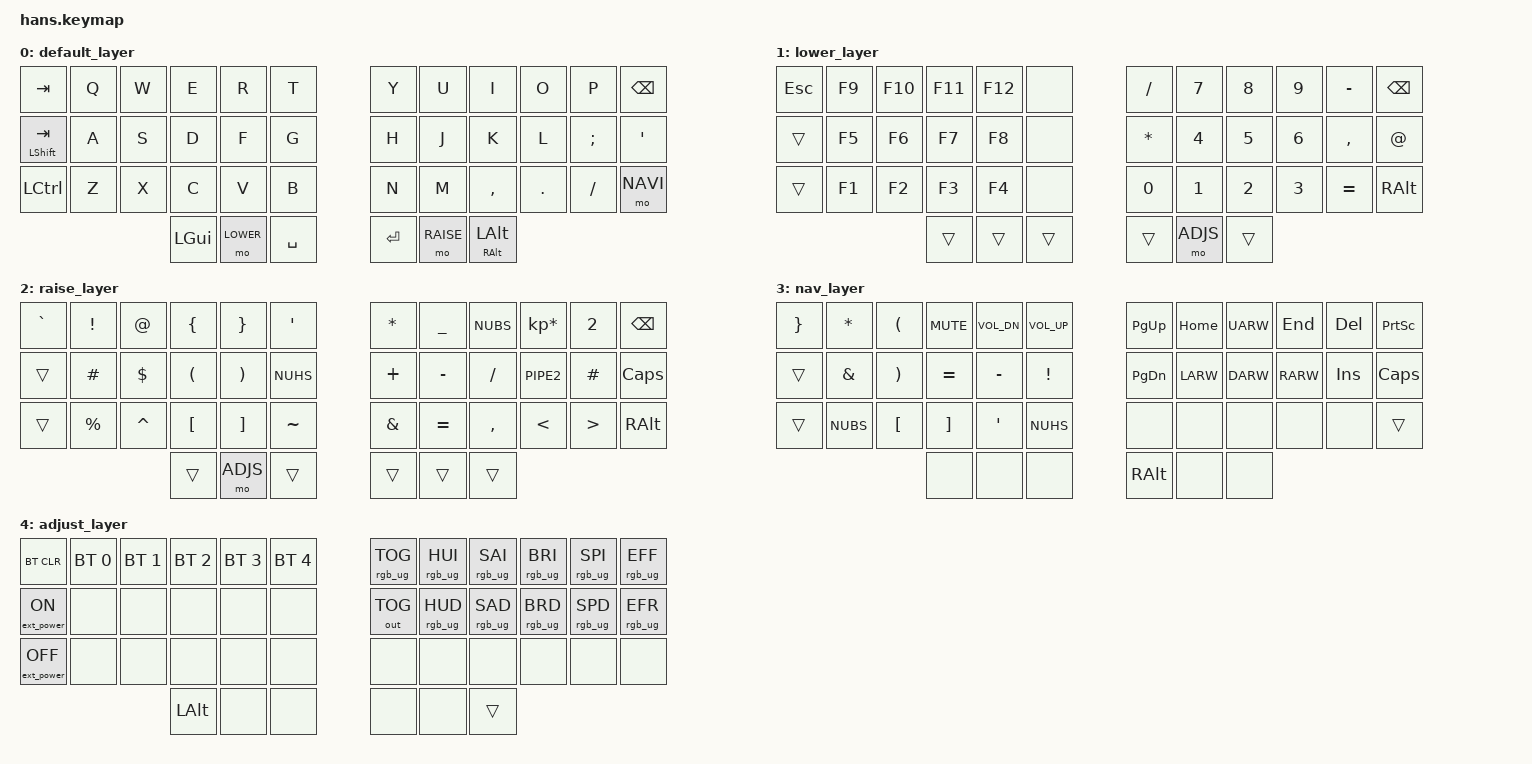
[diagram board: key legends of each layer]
/*
 * Copyright (c) 2020 The ZMK Contributors
 *
 * SPDX-License-Identifier: MIT
 */

#include <behaviors.dtsi>
#include <dt-bindings/zmk/keys.h>
#include <dt-bindings/zmk/bt.h>
#include <dt-bindings/zmk/ext_power.h>
#include <dt-bindings/zmk/outputs.h>
#include <dt-bindings/led/led.h>
#include <dt-bindings/zmk/rgb.h>
#include <dt-bindings/zmk/backlight.h>

//#include <../boards/shields/corne/boards/nice_nano.overlay>

// define blueth
#define BT(n) BT_SEL n

// defines readable layer index
#define DEFAULT 0
#define LOWER   1
#define RAISE   2
#define NAVI    3
#define ADJS    4

/ {     
        keymap {
                compatible = "zmk,keymap";

                default_layer { 
// DEFAULT LAYER
// .--------------------------------------------------------------.       .-----------------------------------------------------------.
// |   ESC        |    Q    |    W   |   E    |    R    |    T    |       |   Y   |    U    |    I    |    O    |     P    |   BKSP   |
// |--------------+---------+--------+--------+---------+---------|       |-------+---------+---------+---------+----------+----------|
// |   SHFT/Tab   |    A    |    S   |   D    |    F    |    G    |       |   H   |    J    |    K    |    L    |    ;Ñ    |    '´    |
// |--------------+---------+--------+--------+---------+---------|       |-------+---------+---------+---------+----------+----------|
// |   CTRL       |    Z    |    X   |   C    |    V    |    B    |       |   N   |    M    |   ,;    |    :.   |    /-_   |   NAV    |
// '---------------------------------+--------+---------+---------+       |-------+---------+---------+-------------------------------'
//                                   |  GUI   |   LWR   |   SPC   |       |  ENT  |   RSE   | LALT/Gr |
//                                   '--------+---------+---------'       '-------+---------+---------'
                  bindings = <
        &kp TAB        &kp Q    &kp W    &kp E    &kp R     &kp T           &kp Y    &kp U      &kp I     &kp O     &kp P     &kp BKSP
        &mt LSHFT TAB  &kp A    &kp S    &kp D    &kp F     &kp G           &kp H    &kp J      &kp K     &kp L     &kp SCLN  &kp QUOT
        &kp LCTL       &kp Z    &kp X    &kp C    &kp V     &kp B           &kp N    &kp M      &kp CMMA  &kp DOT   &kp FSLH  &mo NAVI
                                       &kp LGUI  &mo LOWER  &kp SPC    &kp RET  &mo RAISE  &mt RALT LALT
                            >;
                };


                lower_layer {
// LOWER Layer: Media and Number Pad
// .--------------------------------------------------------------.    .-----------------------------------------------------------.
// |   ESC        |    F9   |   F10  |   F11  |   F12   |         |    |   -   |   7 /   |   8 (   |   9 )   |    '?    |   BKSP   |
// |--------------+---------+--------+--------+---------+---------|    |-------+---------+---------+---------+----------+----------|
// |   SHFT/Tab   |    F5   |   F6   |   F7   |   F8    |         |    |   (   |   4$~   |   5%€   |   6&¬   |   ,;     |    @     |
// |--------------+---------+--------+--------+---------+---------|    |-------+---------+---------+---------+----------+----------|
// |   CTRL       |    F1   |   F2   |   F3   |   F4    |         |    |  0 =  |   1!|   |   2"@   |   3·#   |    ¡¿    |   ALTGR  |
// '---------------------------------+--------+---------+---------+    |-------+---------+---------+-------------------------------'
//                                   |  GUI   |   LWR   |   SPC   |    |  ENT  |   ADJ   |   LALT   |
//                                   '--------+---------+---------'    '-------+---------+---------'

                  bindings = <
          &kp ESC     &kp F9   &kp F10  &kp F11  &kp F12  &none       &kp FSLH   &kp NUM_7  &kp NUM_8  &kp NUM_9  &kp MINUS  &kp BKSP
          &trans      &kp F5   &kp F6   &kp F7   &kp F8   &none       &kp STAR   &kp NUM_4  &kp NUM_5  &kp NUM_6  &kp COMMA  &kp AT_SIGN
          &trans      &kp F1   &kp F2   &kp F3   &kp F4   &none       &kp NUM_0  &kp NUM_1  &kp NUM_2  &kp NUM_3  &kp EQUAL  &kp RALT
                                        &trans   &trans   &trans      &trans     &mo ADJS   &trans
                            >;
                };



                raise_layer {
// RAISE Layer: Special Chars
// .--------------------------------------------------------------.    .-----------------------------------------------------------.
// |     ºª\      |    !    |   "    |   ^    |    *    |  ´¨{    |    |   (   |    ?    |   <>    |    *    |    2@    |   BKSP   |
// |--------------+---------+--------+--------+---------+---------|    |-------+---------+---------+---------+----------+----------|
// |   SHFT/Tab   |    ·    |    $   |   )    |    =    |    Ç}   |    |   ¿   |    '?   |   -_    |    >    |    #·    |   CAPS   |
// |--------------+---------+--------+--------+---------+---------|    |-------+---------+---------+---------+----------+----------|
// |     CTRL     |    %    |    &   |  `[   |    +]    |    ª    |    |   /   |    ¡¿   |   ,;    |    ;    |    :     |  ALTGR   |
// '---------------------------------+--------+---------+---------+    |-------+---------+---------+-------------------------------'
//                                   |        |         |         |    |       |         |         |
//                                   '--------+---------+---------'    '-------+---------+---------'
                        bindings = <
        &kp GRAVE  &kp EXCL   &kp AT    &kp LBRC  &kp RBRC  &kp QUOT     &kp ASTRK  &kp UNDER  &kp NUBS  &kp KP_MULTIPLY  &kp NUM_2  &kp BKSP
        &trans     &kp HASH   &kp DLLR  &kp LPAR  &kp RPAR  &kp NUHS     &kp PLUS   &kp MINUS  &kp FSLH  &kp PIPE2        &kp POUND  &kp CAPS
        &trans     &kp PRCNT  &kp CARET &kp LBKT  &kp RBKT  &kp TILDE    &kp AMPS   &kp EQUAL  &kp COMMA &kp LT           &kp GT     &kp RALT
                                        &trans    &mo ADJS  &trans       &trans     &trans     &trans
                        >;
                };


              nav_layer {
// NAVIGATION Layer: Directions
// .--------------------------------------------------------------.    .-----------------------------------------------------------.
// |      *       |    (    |    )   |  MUTE  |   VOL-  |  VOL+   |    | PG UP | PG HOME |   UP    |  PG END |   DEL    |  PrtScn  |
// |--------------+---------+--------+--------+---------+---------|    |-------+---------+---------+---------+----------+----------|
// |   SHFT/Tab   |    /    |    =   |   ¿¡   |    ?'   |    !    |    | PF DN |  LEFT   |  DOWN   |  RIGHT  |   INS    | CAPS LCK |
// |--------------+---------+--------+--------+---------+---------|    |-------+---------+---------+---------+----------+----------|
// |     CTRL     |    <>   |   `[^  |   +*]  |   ´{    |   ç}    |    |       |         |         |         |          |          |
// '---------------------------------+--------+---------+---------+    |-------+---------+---------+-------------------------------'
//                                   |        |         |         |    | AltGr |         |         |
//                                   '--------+---------+---------'    '-------+---------+---------'
                        bindings = <
          &kp RBRC     &kp ASTRK   &kp LPAR    &kp C_MUTE   &kp C_VOL_DN  &kp C_VOL_UP        &kp PG_UP  &kp HOME   &kp UARW   &kp END   &kp DEL  &kp PSCRN
          &trans       &kp AMPS    &kp RPAR    &kp EQUAL    &kp MINUS     &kp EXCL            &kp PG_DN  &kp LARW   &kp DARW   &kp RARW  &kp INS  &kp CLCK
          &trans       &kp NUBS    &kp LBKT    &kp RBKT     &kp QUOT      &kp NUHS            &none      &none      &none      &none     &none    &trans
                                               &none        &none         &none               &kp RALT   &none      &none
                        >;
                };


                adjust_layer {
// ADJUST Layer: Setting and Configurations
// .------------------------------------------------------------.    .-------------------------------------------------------------.
// |  BT CLR    |  BT 0   |  BT 1  |  BT 2  |  BT 3   |  BT 4   |    | RGB_TOG | RGB_HUI | RGB_SAI | RGB_BRI | RGB_SPI  | RGB_EFF  | ⬆
// |------------+---------+--------+--------+---------+---------|    |---------+---------+---------+---------+----------+----------|
// | ExtPow ON  |         |        |        |         |         |    | OUT_TOG | RGB_HUD | RGB_SAD | RGB_BRD | RGB_SPD  | RGB_EFR  | ⬇
// |------------+---------+--------+--------+---------+---------|    |---------+---------+---------+---------+----------+----------|
// | ExtPow OFF |         |        |        |         |         |    |         |         |         |         |          |          |
// '-------------------------------+--------+---------+---------+    |---------+---------+---------+-------------------------------'
//                                 |   ALT  |         |         |    |         |         |         |
//                                 '--------+---------+---------'    '---------+---------+---------'

                        bindings = <
    &bt BT_CLR          &bt BT_SEL 0  &bt BT_SEL 1  &bt BT_SEL 2  &bt BT_SEL 3  &bt BT_SEL 4       &rgb_ug RGB_TOG     &rgb_ug RGB_HUI &rgb_ug RGB_SAI &rgb_ug RGB_BRI &rgb_ug RGB_SPI &rgb_ug RGB_EFF
    &ext_power EP_ON    &none         &none         &none         &none         &none              &out OUT_TOG        &rgb_ug RGB_HUD &rgb_ug RGB_SAD &rgb_ug RGB_BRD &rgb_ug RGB_SPD &rgb_ug RGB_EFR
    &ext_power EP_OFF   &none         &none         &none         &none         &none              &none               &none           &none           &none           &none           &none
                                                    &kp LALT      &none         &none              &none               &none           &trans
                        >;
                };
        };
};

&pro_micro_i2c {
  status = "okay";

  oled: ssd1306@3c {
    compatible = "solomon,ssd1306fb";
    reg = <0x3c>;
    label = "SSD1306";
    width = <128>;
    height = <32>;
    segment-offset = <0>;
    page-offset = <0>;
    display-offset = <0>;
    multiplex-ratio = <31>;
    com-invdir;
    segment-remap;
    com-sequential;
    prechargep = <0x22>;
  };

	trackball_pim447@a {
		compatible = "pimoroni,trackball_pim447";
		reg = <0xa>;
		label = "TRACKBALL_PIM447";
	};

};

&led_strip{
  chain-length = <54>;
};
/ {
  chosen {
    zephyr,display = &oled;
  };
};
